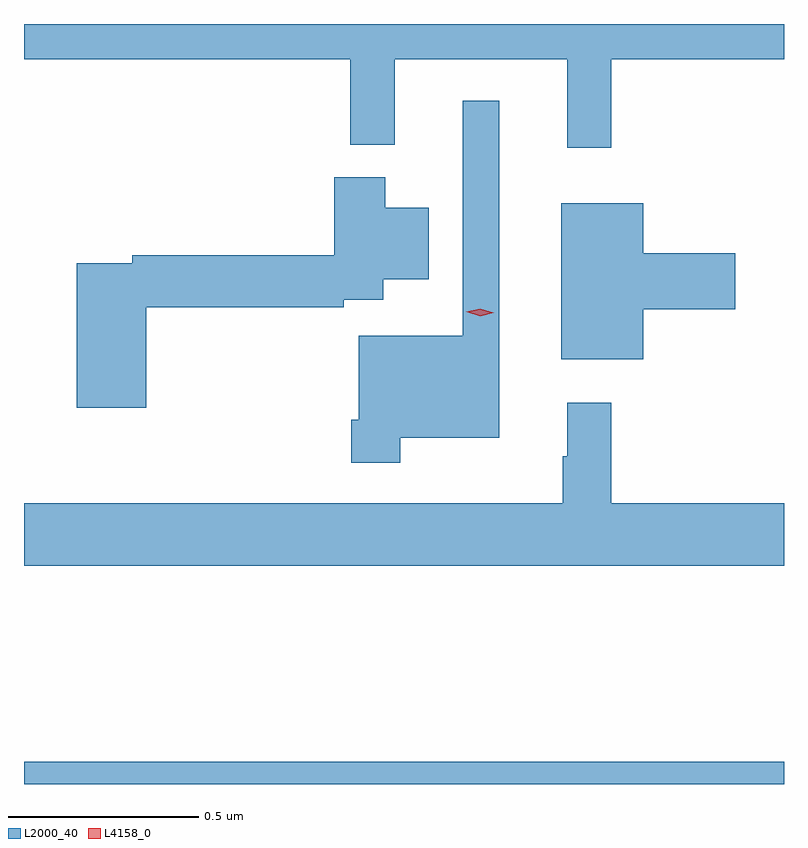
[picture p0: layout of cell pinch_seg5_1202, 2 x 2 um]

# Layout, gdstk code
import gdstk
lib = gdstk.Library(unit=1e-6, precision=1e-09)
def R(c, l, rs):  # rectangles x0, y0, x1, y1
    for r in rs: c.add(gdstk.rectangle(r[:2], r[2:], *l))
def P(c, l, *ps):  # polygons
    for p in ps: c.add(gdstk.Polygon(p, *l))
L2000_40 = (2000, 40)
L4158_0 = (4158, 0)

pinch_seg5_1202 = lib.new_cell('pinch_seg5_1202')
R(pinch_seg5_1202, L2000_40, [(837.631,852.189,839.631,852.248)])
P(pinch_seg5_1202, L2000_40, [(839.177,854.096),(839.631,854.096),(839.631,854.189),(837.631,854.189),(837.631,854.096),(838.489,854.096),(838.489,853.871),(838.607,853.871),(838.607,854.096),(839.06,854.096),(839.06,853.863),(839.177,853.863)],
  [(838.621,853.1),(838.882,853.1),(838.882,853.987),(838.785,853.987),(838.785,853.369),(838.512,853.369),(838.512,853.147),(838.492,853.147),(838.492,853.035),(838.621,853.035)],
  [(837.953,853.444),(838.472,853.444),(838.472,853.464),(838.576,853.464),(838.576,853.517),(838.696,853.517),(838.696,853.705),(838.582,853.705),(838.582,853.786),(838.448,853.786),(838.448,853.58),(837.916,853.58),(837.916,853.56),(837.77,853.56),(837.77,853.179),(837.953,853.179)],
  [(839.26,853.439),(839.503,853.439),(839.503,853.586),(839.26,853.586),(839.26,853.717),(839.045,853.717),(839.045,853.307),(839.26,853.307)],
  [(839.631,852.928),(839.177,852.928),(839.177,853.192),(839.06,853.192),(839.06,853.052),(839.049,853.052),(839.049,852.928),(837.631,852.928),(837.631,852.764),(839.631,852.764)])
P(pinch_seg5_1202, L4158_0, [(838.831,853.42),(838.795,853.432),(838.795,853.432),(838.795,853.432),(838.832,853.44),(838.867,853.429),(838.867,853.429),(838.867,853.429)])

lib.write_gds('pinch_seg5_1202.gds')
